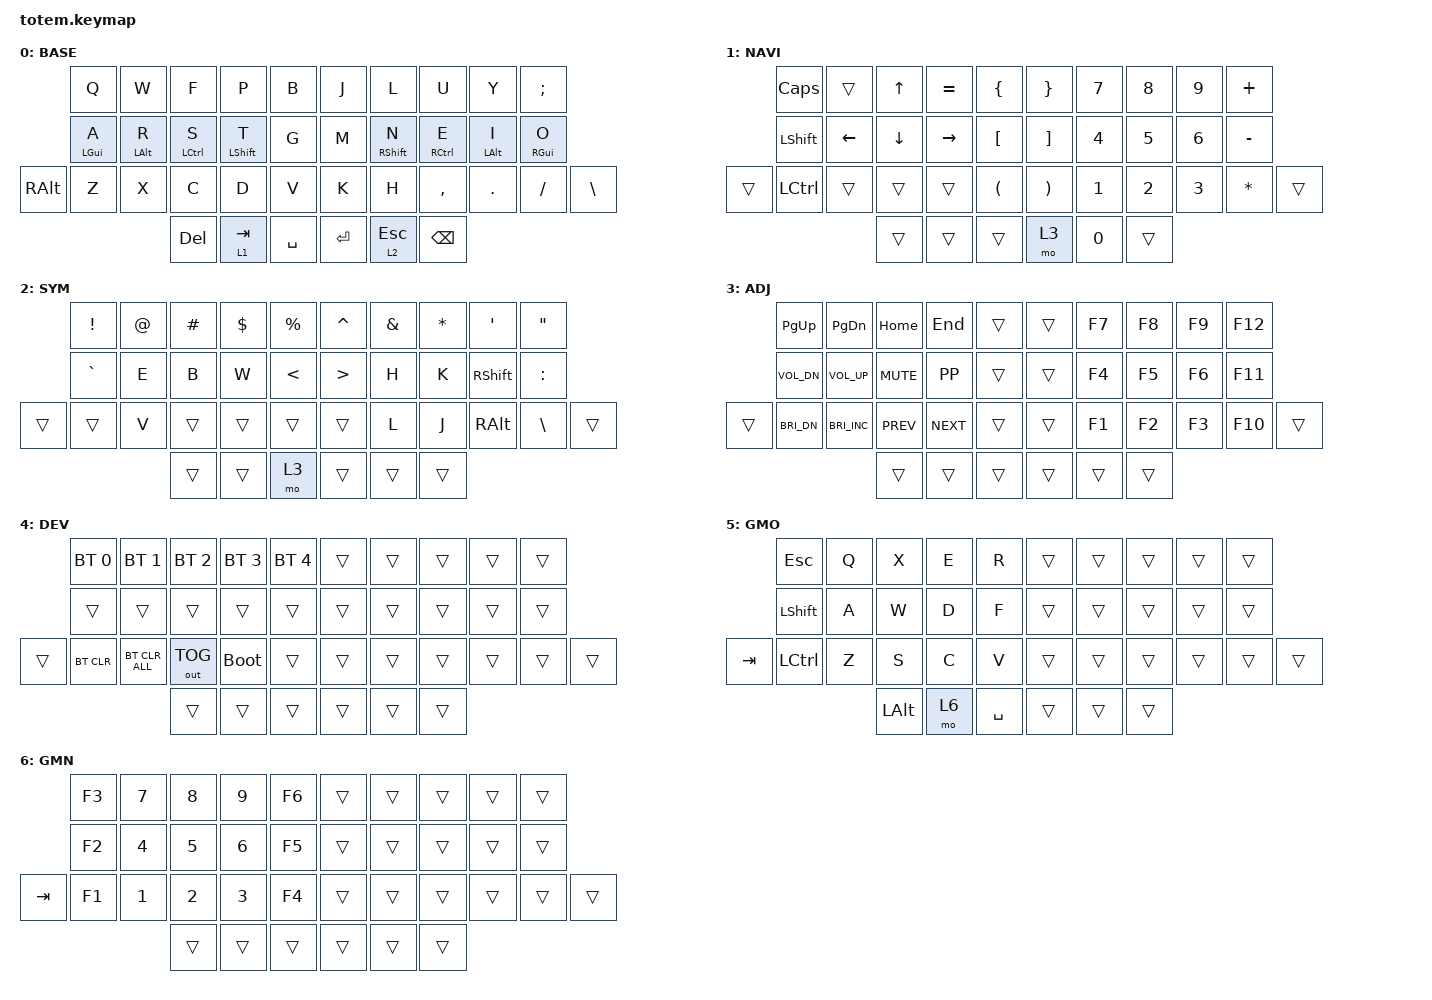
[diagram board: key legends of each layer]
//
//                                                        ▀▀▀▀▀     ▀▀▀▀▀          ▀▀█▀▀
//                                                        ▄▀▀▀▄  ▄  ▄▀▀▀▄  ▄  ▄▀▀▀▄  █  ▄▀▀▀▄
//                                                        █   █  █  █   █  █  █   █  █  █   █
//                                                         ▀▀▀   █   ▀▀▀   █   ▀▀▀   ▀   ▀▀▀
//                                                               █      ▄▄▄█▄▄▄    █   █  
//                                                               ▀      █  █  █     █▄█
//                                                             ▀▀▀▀▀    █  █  █      ▀
//                                                                      ▀  ▀  ▀
//
// ▄▄▄▄▄▄▄▄▄▄▄▄▄▄▄▄▄▄▄▄▄▄▄▄▄▄▄▄▄▄▄▄▄▄▄▄▄▄▄▄▄▄▄▄▄▄▄▄▄▄▄▄▄▄▄▄▄▄▄▄▄▄▄▄▄▄▄▄▄▄▄▄▄▄▄▄▄▄▄▄▄▄▄▄▄▄▄▄▄▄▄▄▄▄▄▄▄▄▄▄▄▄▄▄▄▄▄▄▄▄▄▄▄▄▄▄▄▄▄▄▄▄▄▄▄▄▄▄▄▄▄▄▄▄▄▄▄▄▄▄▄▄▄▄▄▄▄▄▄

#include <behaviors.dtsi>
#include <dt-bindings/zmk/bt.h>
#include <dt-bindings/zmk/keys.h>
#include <dt-bindings/zmk/outputs.h>

#define BASE 0
#define NAV  1
#define SYM  2
#define ADJ  3
#define DEVICE 4

&mt {
    global-quick-tap;
    flavor = "tap-preferred";
};

/ {
    combos {
        compatible = "zmk,combos";

        combo_esc {
            timeout-ms = <50>;
            key-positions = <0 1>;
            bindings = <&kp ESC>;
        };

        device_layer {
            bindings = <&mo DEVICE>;
            key-positions = <16 17 18>;
            layers = <0>;
        };

        GameToggle {
            bindings = <&tog 5>;
            key-positions = <2 3 1>;
            layers = <0 5 6>;
        };
    };

    keymap {
        compatible = "zmk,keymap";

        // ▄▄▄▄▄▄▄▄▄▄▄▄▄▄▄▄▄▄▄▄▄▄▄▄▄▄▄▄▄▄▄▄▄▄▄▄▄▄▄▄▄▄▄▄▄▄▄▄▄▄▄▄▄▄▄▄▄▄▄▄▄▄▄▄▄▄▄▄▄▄▄▄▄▄▄▄▄▄▄▄▄▄▄▄▄▄▄▄▄▄▄▄▄▄▄▄▄▄▄▄▄▄▄▄▄▄▄▄▄▄▄▄▄▄▄▄▄▄▄▄▄▄▄▄▄▄▄▄▄▄▄▄▄▄▄▄▄▄▄▄▄▄▄▄▄▄▄▄▄

        base_layer {
            display-name = "BASE";
            bindings = <
          &kp Q       &kp W       &kp F        &kp P        &kp B        &kp J    &kp L        &kp U        &kp Y       &kp SEMI
          &mt LGUI A  &mt LALT R  &mt LCTRL S  &mt LSHFT T  &kp G        &kp M    &mt RSHFT N  &mt RCTRL E  &mt LALT I  &mt RGUI O
&kp RALT  &kp Z       &kp X       &kp C        &kp D        &kp V        &kp K    &kp H        &kp COMMA    &kp DOT     &kp FSLH    &kp BSLH
                                  &kp DEL      &lt 1 TAB    &kp SPACE    &kp RET  &lt 2 ESC    &kp BSPC
            >;
        };

        // ▄▄▄▄▄▄▄▄▄▄▄▄▄▄▄▄▄▄▄▄▄▄▄▄▄▄▄▄▄▄▄▄▄▄▄▄▄▄▄▄▄▄▄▄▄▄▄▄▄▄▄▄▄▄▄▄▄▄▄▄▄▄▄▄▄▄▄▄▄▄▄▄▄▄▄▄▄▄▄▄▄▄▄▄▄▄▄▄▄▄▄▄▄▄▄▄▄▄▄▄▄▄▄▄▄▄▄▄▄▄▄▄▄▄▄▄▄▄▄▄▄▄▄▄▄▄▄▄▄▄▄▄▄▄▄▄▄▄▄▄▄▄▄▄▄▄▄▄▄

        nav_layer {
            display-name = "NAVI";
            bindings = <
        &kp CAPS   &trans    &kp UP    &kp EQUAL  &kp LBRC    &kp RBRC  &kp N7  &kp N8  &kp N9  &kp PLUS
        &kp LSHFT  &kp LEFT  &kp DOWN  &kp RIGHT  &kp LBKT    &kp RBKT  &kp N4  &kp N5  &kp N6  &kp MINUS
&trans  &kp LCTRL  &trans    &trans    &trans     &kp LPAR    &kp RPAR  &kp N1  &kp N2  &kp N3  &kp STAR   &trans
                             &trans    &trans     &trans      &mo 3     &kp N0  &trans
            >;
        };

        // ▄▄▄▄▄▄▄▄▄▄▄▄▄▄▄▄▄▄▄▄▄▄▄▄▄▄▄▄▄▄▄▄▄▄▄▄▄▄▄▄▄▄▄▄▄▄▄▄▄▄▄▄▄▄▄▄▄▄▄▄▄▄▄▄▄▄▄▄▄▄▄▄▄▄▄▄▄▄▄▄▄▄▄▄▄▄▄▄▄▄▄▄▄▄▄▄▄▄▄▄▄▄▄▄▄▄▄▄▄▄▄▄▄▄▄▄▄▄▄▄▄▄▄▄▄▄▄▄▄▄▄▄▄▄▄▄▄▄▄▄▄▄▄▄▄▄▄▄▄

        sim_layer {
            display-name = "SYM";
            bindings = <
        &kp EXCL   &kp AT  &kp HASH  &kp DLLR  &kp PRCNT    &kp CARET  &kp AMPS  &kp STAR  &kp SQT    &kp DQT
        &kp GRAVE  &kp E   &kp B     &kp W     &kp LT       &kp GT     &kp H     &kp K     &kp RSHFT  &kp COLON
&trans  &trans     &kp V   &trans    &trans    &trans       &trans     &kp L     &kp J     &kp RALT   &kp BSLH   &trans
                           &trans    &trans    &mo 3        &trans     &trans    &trans
            >;
        };

        // ▄▄▄▄▄▄▄▄▄▄▄▄▄▄▄▄▄▄▄▄▄▄▄▄▄▄▄▄▄▄▄▄▄▄▄▄▄▄▄▄▄▄▄▄▄▄▄▄▄▄▄▄▄▄▄▄▄▄▄▄▄▄▄▄▄▄▄▄▄▄▄▄▄▄▄▄▄▄▄▄▄▄▄▄▄▄▄▄▄▄▄▄▄▄▄▄▄▄▄▄▄▄▄▄▄▄▄▄▄▄▄▄▄▄▄▄▄▄▄▄▄▄▄▄▄▄▄▄▄▄▄▄▄▄▄▄▄▄▄▄▄▄▄▄▄▄▄▄▄

        adjust_layer {
            display-name = "ADJ";
            bindings = <
        &kp PG_UP     &kp PG_DN      &kp HOME    &kp END     &trans    &trans  &kp F7  &kp F8  &kp F9  &kp F12
        &kp C_VOL_DN  &kp C_VOL_UP   &kp K_MUTE  &kp K_PP    &trans    &trans  &kp F4  &kp F5  &kp F6  &kp F11
&trans  &kp C_BRI_DN  &kp C_BRI_INC  &kp K_PREV  &kp K_NEXT  &trans    &trans  &kp F1  &kp F2  &kp F3  &kp F10  &trans
                                     &trans      &trans      &trans    &trans  &trans  &trans
            >;
        };

        // ▄▄▄▄▄▄▄▄▄▄▄▄▄▄▄▄▄▄▄▄▄▄▄▄▄▄▄▄▄▄▄▄▄▄▄▄▄▄▄▄▄▄▄▄▄▄▄▄▄▄▄▄▄▄▄▄▄▄▄▄▄▄▄▄▄▄▄▄▄▄▄▄▄▄▄▄▄▄▄▄▄▄▄▄▄▄▄▄▄▄▄▄▄▄▄▄▄▄▄▄▄▄▄▄▄▄▄▄▄▄▄▄▄▄▄▄▄▄▄▄▄▄▄▄▄▄▄▄▄▄▄▄▄▄▄▄▄▄▄▄▄▄▄▄▄▄▄▄▄

        Device {
            display-name = "DEV";
            bindings = <
        &bt BT_SEL 0  &bt BT_SEL 1    &bt BT_SEL 2  &bt BT_SEL 3  &bt BT_SEL 4    &trans  &trans  &trans  &trans  &trans
        &trans        &trans          &trans        &trans        &trans          &trans  &trans  &trans  &trans  &trans
&trans  &bt BT_CLR    &bt BT_CLR_ALL  &out OUT_TOG  &bootloader   &trans          &trans  &trans  &trans  &trans  &trans  &trans
                                      &trans        &trans        &trans          &trans  &trans  &trans
            >;
        };

        GAME {
            display-name = "GMO";
            bindings = <
         &kp ESC    &kp Q  &kp X     &kp E  &kp R        &trans  &trans  &trans  &trans  &trans
         &kp LSHFT  &kp A  &kp W     &kp D  &kp F        &trans  &trans  &trans  &trans  &trans
&kp TAB  &kp LCTRL  &kp Z  &kp S     &kp C  &kp V        &trans  &trans  &trans  &trans  &trans  &trans
                           &kp LALT  &mo 6  &kp SPACE    &trans  &trans  &trans
            >;
        };

        GameNUM {
            display-name = "GMN";
            bindings = <
         &kp F3  &kp N7  &kp N8  &kp N9        &kp F6    &trans  &trans  &trans  &trans  &trans
         &kp F2  &kp N4  &kp N5  &kp NUMBER_6  &kp F5    &trans  &trans  &trans  &trans  &trans
&kp TAB  &kp F1  &kp N1  &kp N2  &kp N3        &kp F4    &trans  &trans  &trans  &trans  &trans  &trans
                         &trans  &trans        &trans    &trans  &trans  &trans
            >;
        };
    };
};
